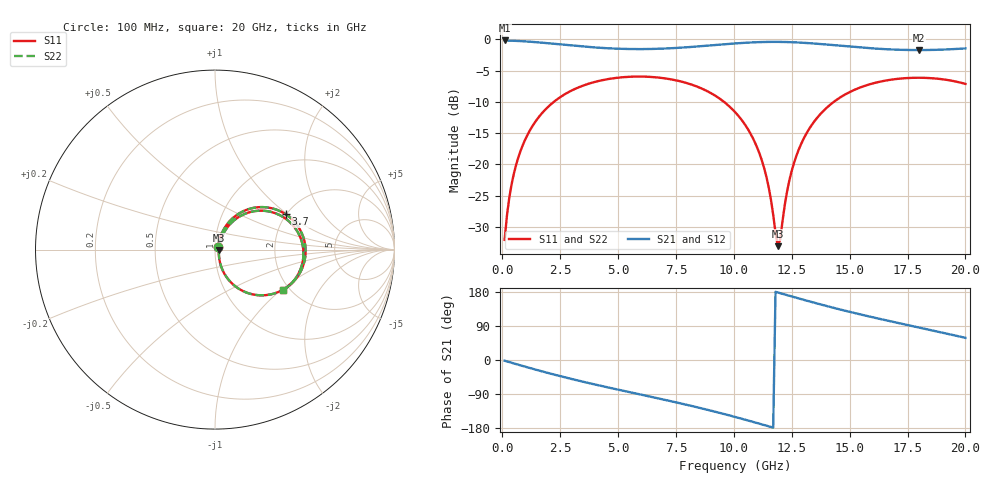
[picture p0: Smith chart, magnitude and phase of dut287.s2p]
! Touchstone file exported from HFSS 2026.1.0
!  File:  C:/ffzhzh/LocalFiles/Ansys_Project_Files/temp_train_TSV_RDL_287_1783086799_37648.aedt
!  Generated:  10:11:40 PM Jul  3, 2026
!  Design:  TSV_RDL
!  Project:  temp_train_TSV_RDL_287_1783086799_37648
! Variables:
!  h_bsmrdl = 2.65um
!  h_ox = 20um
!  h_rdl = 5um
!  h_sub = 93.42um
!  h_tmrdl = 5.92um
!  h_tsv = 93.42um
!  h_via = 3um
!  l_bsmrdl = 463.73um
!  l_sub = 5125.4um
!  l_tmrdl = 795.64um
!  m_sub = 200um
!  pitch = 55.23um
!  r_tsv = 7.43um
!  s_tmrdl = 10um
!  w_bsmrdl = 20.76um
!  w_sub = 500um
!  w_tmrdl = 29.79um
!  x_tsv_center1 = 810.535um
!  x_tsv_center2 = 1295.025um
!  x_tsv_center3 = 2120.455um
!  x_tsv_center4 = 2604.945um
!  x_tsv_center5 = 3430.375um
!  x_tsv_center6 = 3914.865um
# GHz S MA R 50.000000
! Terminal data exported
! Port[1] = TM_RDL1_1_T1
! Port[2] = TM_RDL5_1_T1
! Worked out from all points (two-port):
!   200 points, 100 MHz to 20 GHz, reference 50 ohm
!   highest |S21| = -0.16 dB at 100 MHz (marker M1); lowest = -1.7 dB at 18 GHz (marker M2)
!   |S21| within 3 dB of the highest: start of sweep to end of sweep
!   lowest |S11| = -33.1 dB at 11.9 GHz (marker M3), VSWR 1.05, Z = 52.2 - j0.438 ohm
!   |S11| at or under -10 dB: start of sweep to 2.222 GHz; 9.578 GHz to 14.31 GHz (4.735 GHz wide, 39.6 % of centre)
!   |S22| runs from -33.0 to -5.9 dB; largest |S21 - S12| = 2.7e-14
!   S11 on the Smith chart (normalised r, x): 100 MHz: 1.04, +0.04; 3.7 GHz: 1.99, +0.97; 20 GHz: 1.84, -1.04
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0.1  0.02484 42.9  0.9822 -1.9  0.9822 -1.9  0.02484 42.9
! Gamma 0 0 0 0
! Port Impedance 50 0 50 0
0.3  0.05372 63.5  0.9796 -5.5  0.9796 -5.5  0.05372 63.5
0.5  0.08432 67.1  0.9765 -9.1  0.9765 -9.1  0.08432 67.1
1.1  0.174 63.0  0.9626 -19.6  0.9626 -19.6  0.174 63.0
2.1  0.3028 49.1  0.9284 -36.3  0.9284 -36.3  0.3028 49.1
3.5  0.4279 29.2  0.8778 -57.5  0.8778 -57.5  0.4279 29.2
3.7  0.4406 26.5  0.8716 -60.4  0.8716 -60.4  0.4406 26.5
5.3  0.5003 5.6  0.8402 -82.2  0.8402 -82.2  0.5003 5.6
6.8  0.4943 -13.5  0.8433 -102.1  0.8433 -102.1  0.4942 -13.5
8.6  0.4057 -37.5  0.8844 -127.5  0.8844 -127.5  0.4057 -37.4
10.1  0.2565 -58.6  0.9312 -151.0  0.9312 -151.0  0.2565 -58.5
10.7  0.1789 -66.2  0.9458 -161.1  0.9458 -161.1  0.1789 -66.2
11.2  0.109 -70.1  0.9538 -169.7  0.9538 -169.7  0.1089 -70.0
11.5  0.06631 -67.4  0.9563 -174.9  0.9563 -174.9  0.06632 -67.3
11.9  0.02213 -10.9  0.9567 178.1  0.9567 178.1  0.02232 -10.7
12  0.02508 23.6  0.9562 176.4  0.9562 176.4  0.02528 23.5
12.5  0.08886 61.9  0.951 167.7  0.951 167.7  0.08896 61.8
13.4  0.2112 55.3  0.9304 152.3  0.9304 152.3  0.2113 55.3
14.8  0.3622 36.2  0.8842 130.1  0.8842 130.1  0.3622 36.2
16.7  0.4738 11.0  0.8335 103.0  0.8335 103.0  0.4739 10.9
18  0.4939 -5.4  0.8226 85.7  0.8226 85.7  0.4939 -5.5
20  0.441 -30.9  0.8481 58.5  0.8481 58.5  0.441 -31.0
